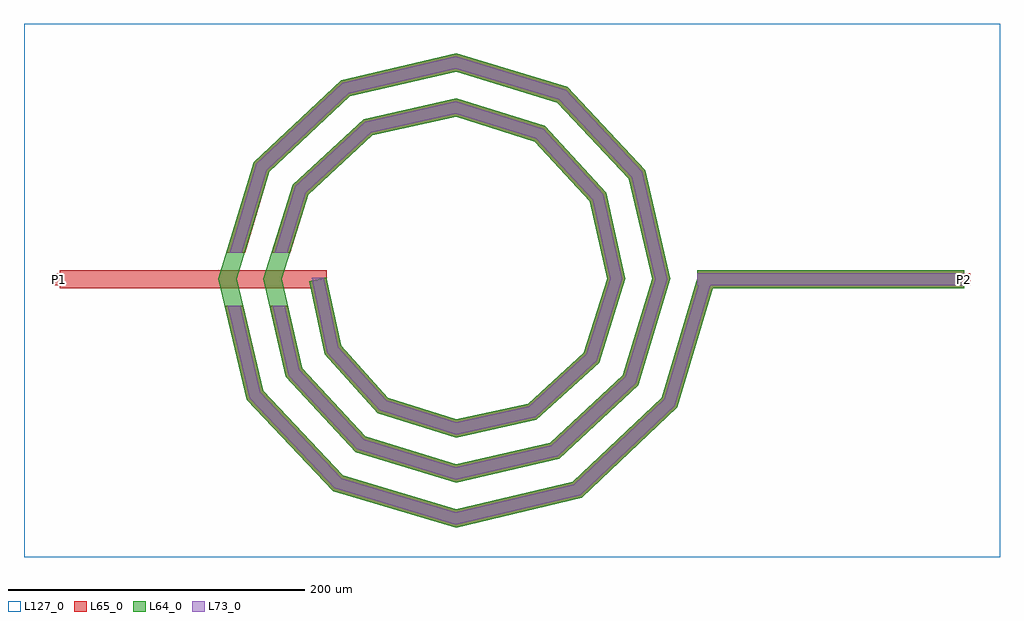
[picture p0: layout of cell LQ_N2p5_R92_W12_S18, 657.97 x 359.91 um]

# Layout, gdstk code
import gdstk
lib = gdstk.Library(unit=1e-6, precision=1e-09)
def R(c, l, rs):  # rectangles x0, y0, x1, y1
    for r in rs: c.add(gdstk.rectangle(r[:2], r[2:], *l))
def P(c, l, *ps):  # polygons
    for p in ps: c.add(gdstk.Polygon(p, *l))
L64_0 = (64, 0)
L65_0 = (65, 0)
L73_0 = (73, 0)
L127_0 = (127, 0)

lq_n2p5_r92_w12_s18 = lib.new_cell('LQ_N2p5_R92_W12_S18')
R(lq_n2p5_r92_w12_s18, L64_0, [(162.918,-6,342.918,6)])
P(lq_n2p5_r92_w12_s18, L64_0, [(-77.252,-44.955),(-45.696,-79.744),(0.291,-94.437),(48.728,-83.832),(86.302,-49.507),(102.022,0.271),(90.411,52.504),(53.316,92.862),(0.253,109.607),(-56.282,96.989),(-99.424,57.122),(-117.193,0.237),(-103.566,-60.062),(-60.928,-105.986),(0.224,-124.779),(63.844,-110.142),(112.549,-64.731),(132.364,0.211),(116.717,67.626),(68.534,119.113),(0.2,139.95),(-71.41,123.292),(-125.677,72.336),(-147.536,0.191),(-129.866,-75.195),(-76.137,-132.242),(0.182,-155.122),(78.98,-136.44),(138.807,-79.937),(163.168,1.715),(174.667,-1.715),(149.386,-86.452),(84.88,-147.374),(0.182,-167.541),(-82.666,-142.812),(-140.808,-81.079),(-159.954,0.191),(-136.238,78.881),(-77.278,134.243),(0.2,152.368),(75.096,129.663),(127.678,73.475),(144.782,0.211),(123.087,-71.313),(69.672,-121.114),(0.224,-137.195),(-67.531,-116.51),(-114.551,-65.867),(-129.609,0.237),(-109.933,63.75),(-62.061,107.988),(0.253,122.022),(59.97,103.355),(101.426,58.253),(114.435,0.271),(96.775,-56.193),(54.443,-94.865),(0.291,-106.848),(-52.418,-90.194),(-88.306,-50.63),(-98.922,-1.261),(-87.19,1.261)])
R(lq_n2p5_r92_w12_s18, L65_0, [(-267.056,-6,-87.056,6), (162.918,-6,342.918,6), (-271.056,-4,-263.056,4), (338.918,-4,346.918,4)])
P(lq_n2p5_r92_w12_s18, L65_0, [(-129.866,-75.195),(-76.137,-132.242),(0.182,-155.122),(78.98,-136.44),(138.807,-79.937),(163.168,1.715),(174.667,-1.715),(149.386,-86.452),(84.88,-147.374),(0.182,-167.541),(-82.666,-142.812),(-140.808,-81.079),(-155.669,-18),(-143.34,-18)],
  [(-103.566,-60.062),(-60.928,-105.986),(0.224,-124.779),(63.844,-110.142),(112.549,-64.731),(132.364,0.211),(116.717,67.626),(68.534,119.113),(0.201,139.95),(-71.41,123.292),(-125.677,72.336),(-142.054,18),(-154.587,18),(-136.238,78.881),(-77.278,134.243),(0.201,152.368),(75.096,129.663),(127.678,73.475),(144.782,0.211),(123.087,-71.313),(69.672,-121.114),(0.224,-137.195),(-67.531,-116.51),(-114.551,-65.867),(-125.454,-18),(-113.147,-18)],
  [(-45.696,-79.744),(0.291,-94.437),(48.728,-83.832),(86.302,-49.507),(102.022,0.271),(90.411,52.504),(53.316,92.862),(0.253,109.607),(-56.282,96.989),(-99.424,57.122),(-111.543,18),(-124.106,18),(-109.933,63.75),(-62.061,107.988),(0.253,122.022),(59.97,103.355),(101.426,58.253),(114.435,0.271),(96.775,-56.193),(54.443,-94.865),(0.291,-106.848),(-52.418,-90.194),(-88.306,-50.63),(-98.922,-1.261),(-87.19,1.261),(-77.252,-44.955)])
R(lq_n2p5_r92_w12_s18, L73_0, [(162.918,-4,342.918,4)])
P(lq_n2p5_r92_w12_s18, L73_0, [(-131.69,-76.176),(-77.225,-134.004),(0.121,-157.192),(79.963,-138.262),(140.571,-81.023),(165.084,1.144),(172.751,-1.144),(147.623,-85.366),(83.897,-145.552),(0.121,-165.471),(-81.578,-141.051),(-138.985,-80.099),(-153.614,-18),(-145.395,-18)],
  [(-105.396,-61.03),(-62.028,-107.74),(0.149,-126.848),(64.815,-111.97),(114.305,-65.828),(134.434,0.141),(118.544,68.601),(69.628,120.871),(0.134,142.02),(-72.388,125.117),(-127.437,73.427),(-144.142,18),(-152.498,18),(-134.478,77.79),(-76.3,132.418),(0.134,150.298),(74.003,127.904),(125.852,72.501),(142.712,0.141),(121.331,-70.216),(68.701,-119.285),(0.149,-135.126),(-66.43,-114.756),(-112.72,-64.9),(-123.403,-18),(-115.198,-18)],
  [(-46.816,-81.486),(0.194,-96.505),(49.681,-85.671),(88.048,-50.621),(104.091,0.18),(92.247,53.462),(54.425,94.611),(0.169,111.677),(-57.246,98.822),(-101.175,58.227),(-113.637,18),(-122.012,18),(-108.182,62.645),(-61.098,106.155),(0.169,119.953),(58.861,101.606),(99.59,57.295),(112.366,0.18),(95.03,-55.079),(53.49,-93.027),(0.194,-104.78),(-51.298,-88.452),(-86.464,-49.684),(-96.967,0.841),(-89.146,0.841),(-79.094,-45.901)])
R(lq_n2p5_r92_w12_s18, L127_0, [(-291.056,-187.541,366.918,172.368)])
lq_n2p5_r92_w12_s18.add(gdstk.Label('P2', (342.918,0), layer=65, texttype=0))
lq_n2p5_r92_w12_s18.add(gdstk.Label('P1', (-267.056,0), layer=65, texttype=0))
lq_n2p5_r92_w12_s18.add(gdstk.Label('P2', (346.918,0), layer=145, texttype=0))
lq_n2p5_r92_w12_s18.add(gdstk.Label('P1', (-271.056,0), layer=145, texttype=0))

lib.write_gds('LQ_N2p5_R92_W12_S18.gds')
